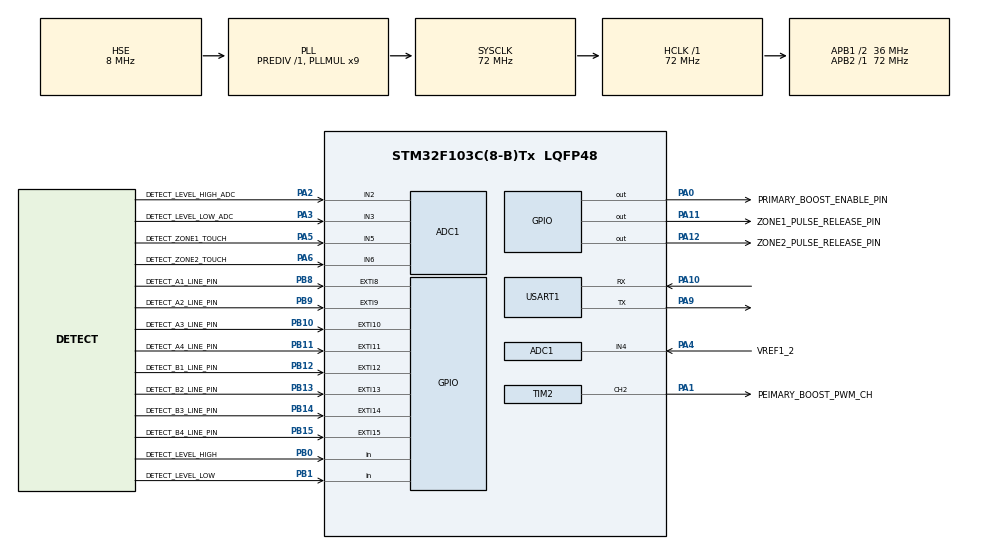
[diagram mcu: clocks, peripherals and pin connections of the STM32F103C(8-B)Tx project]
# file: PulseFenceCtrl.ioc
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ADC1.Channel-0\#ChannelRegularConversion=ADC_CHANNEL_4
ADC1.ContinuousConvMode=DISABLE
ADC1.DataAlign=ADC_DATAALIGN_RIGHT
ADC1.DiscontinuousConvMode=DISABLE
ADC1.EnableAnalogWatchDog=false
ADC1.EnableRegularConversion=ENABLE
ADC1.ExternalTrigConv=ADC_SOFTWARE_START
ADC1.InjNumberOfConversion=0
ADC1.NbrOfConversion=1
ADC1.NbrOfConversionFlag=1
ADC1.Rank-0\#ChannelRegularConversion=1
ADC1.SamplingTime-0\#ChannelRegularConversion=ADC_SAMPLETIME_239CYCLES_5
ADC1.ScanConvMode=ADC_SCAN_DISABLE
ADC1.master=1
Mcu.Family=STM32F1
Mcu.Name=STM32F103C(8-B)Tx
Mcu.Package=LQFP48
NVIC.EXTI15_10_IRQn=true\:2\:0\:true\:true\:true\:1\:true
NVIC.EXTI9_5_IRQn=true\:2\:0\:true\:true\:true\:2\:true
NVIC.PriorityGroup=NVIC_PRIORITYGROUP_4
NVIC.TIM1_UP_IRQn=true\:3\:0\:true\:false\:true\:true
NVIC.USART1_IRQn=true\:2\:0\:true\:false\:true\:true
PA0-WKUP.GPIO_Label=PRIMARY_BOOST_ENABLE_PIN
PA0-WKUP.GPIO_ModeDefaultOutputPP=GPIO_MODE_OUTPUT_PP
PA0-WKUP.Signal=GPIO_Output
PA1.GPIO_Label=PEIMARY_BOOST_PWM_CH
PA1.Signal=S_TIM2_CH2
PA10.Mode=Asynchronous
PA10.Signal=USART1_RX
PA11.GPIO_Label=ZONE1_PULSE_RELEASE_PIN
PA11.GPIO_Speed=GPIO_SPEED_FREQ_HIGH
PA11.PinState=GPIO_PIN_SET
PA11.Signal=GPIO_Output
PA12.GPIO_Label=ZONE2_PULSE_RELEASE_PIN
PA12.GPIO_Speed=GPIO_SPEED_FREQ_HIGH
PA12.PinState=GPIO_PIN_SET
PA12.Signal=GPIO_Output
PA13.Mode=Trace_Asynchronous_SW
PA13.Signal=SYS_JTMS-SWDIO
PA14.Mode=Trace_Asynchronous_SW
PA14.Signal=SYS_JTCK-SWCLK
PA2.GPIO_Label=DETECT_LEVEL_HIGH_ADC
PA2.Signal=ADCx_IN2
PA3.GPIO_Label=DETECT_LEVEL_LOW_ADC
PA3.Signal=ADCx_IN3
PA4.GPIO_Label=VREF1_2
PA4.Signal=ADCx_IN4
PA5.GPIO_Label=DETECT_ZONE1_TOUCH
PA5.Signal=ADCx_IN5
PA6.GPIO_Label=DETECT_ZONE2_TOUCH
PA6.Signal=ADCx_IN6
PA9.Mode=Asynchronous
PA9.Signal=USART1_TX
PB0.GPIO_Label=DETECT_LEVEL_HIGH
PB0.GPIO_PuPd=GPIO_PULLUP
PB0.Signal=GPIO_Input
PB1.GPIO_Label=DETECT_LEVEL_LOW
PB1.GPIO_PuPd=GPIO_PULLUP
PB1.Signal=GPIO_Input
PB10.GPIO_Label=DETECT_A3_LINE_PIN
PB10.GPIO_ModeDefaultEXTI=GPIO_MODE_IT_FALLING
PB10.GPIO_PuPd=GPIO_PULLUP
PB10.Signal=GPXTI10
PB11.GPIO_Label=DETECT_A4_LINE_PIN
PB11.GPIO_ModeDefaultEXTI=GPIO_MODE_IT_FALLING
PB11.GPIO_PuPd=GPIO_PULLUP
PB11.Signal=GPXTI11
PB12.GPIO_Label=DETECT_B1_LINE_PIN
PB12.GPIO_ModeDefaultEXTI=GPIO_MODE_IT_FALLING
PB12.GPIO_PuPd=GPIO_PULLUP
PB12.Signal=GPXTI12
PB13.GPIO_Label=DETECT_B2_LINE_PIN
PB13.GPIO_ModeDefaultEXTI=GPIO_MODE_IT_FALLING
PB13.GPIO_PuPd=GPIO_PULLUP
PB13.Signal=GPXTI13
PB14.GPIO_Label=DETECT_B3_LINE_PIN
PB14.GPIO_ModeDefaultEXTI=GPIO_MODE_IT_FALLING
PB14.GPIO_PuPd=GPIO_PULLUP
PB14.Signal=GPXTI14
PB15.GPIO_Label=DETECT_B4_LINE_PIN
PB15.GPIO_ModeDefaultEXTI=GPIO_MODE_IT_FALLING
PB15.GPIO_PuPd=GPIO_PULLUP
PB15.Signal=GPXTI15
PB3.Mode=Trace_Asynchronous_SW
PB3.Signal=SYS_JTDO-TRACESWO
PB8.GPIO_Label=DETECT_A1_LINE_PIN
PB8.GPIO_ModeDefaultEXTI=GPIO_MODE_IT_FALLING
PB8.GPIO_PuPd=GPIO_PULLUP
PB8.Signal=GPXTI8
PB9.GPIO_Label=DETECT_A2_LINE_PIN
PB9.GPIO_ModeDefaultEXTI=GPIO_MODE_IT_FALLING
PB9.GPIO_PuPd=GPIO_PULLUP
PB9.Signal=GPXTI9
PD0-OSC_IN.Mode=HSE-External-Oscillator
PD0-OSC_IN.Signal=RCC_OSC_IN
PD1-OSC_OUT.Mode=HSE-External-Oscillator
PD1-OSC_OUT.Signal=RCC_OSC_OUT
ProjectManager.HeapSize=0x200
ProjectManager.StackSize=0x400
ProjectManager.TargetToolchain=MDK-ARM V5
RCC.ADCPresc=RCC_ADCPCLK2_DIV6
RCC.AHBFreq_Value=72000000
RCC.APB1CLKDivider=RCC_HCLK_DIV2
RCC.APB1Freq_Value=36000000
RCC.APB1TimFreq_Value=72000000
RCC.APB2Freq_Value=72000000
RCC.APB2TimFreq_Value=72000000
RCC.HCLKFreq_Value=72000000
RCC.PLLMUL=RCC_PLL_MUL9
RCC.PLLSourceVirtual=RCC_PLLSOURCE_HSE
RCC.SYSCLKFreq_VALUE=72000000
RCC.SYSCLKSource=RCC_SYSCLKSOURCE_PLLCLK
RCC.USBFreq_Value=72000000
SH.ADCx_IN2.0=ADC1_IN2,IN2
SH.ADCx_IN3.0=ADC1_IN3,IN3
SH.ADCx_IN4.0=ADC1_IN4,IN4
SH.ADCx_IN5.0=ADC1_IN5,IN5
SH.ADCx_IN6.0=ADC1_IN6,IN6
SH.S_TIM2_CH2.0=TIM2_CH2,PWM Generation2 CH2
TIM1.Period=10000
TIM1.Prescaler=72
TIM2.Channel-PWM\ Generation2\ CH2=TIM_CHANNEL_2
TIM2.OCPolarity_2=TIM_OCPOLARITY_LOW
TIM2.Period=100 - 1
TIM2.Prescaler=72 - 1
TIM2.Pulse-PWM\ Generation2\ CH2=20
USART1.VirtualMode=VM_ASYNC
VP_TIM1_VS_ClockSourceINT.Mode=Internal
board=PulseFenceCtrl

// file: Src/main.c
/**
  ******************************************************************************
  * @file           : main.c
  * @brief          : Main program body
  ******************************************************************************
  ** This notice applies to any and all portions of this file
  * that are not between comment pairs USER CODE BEGIN and
  * USER CODE END. Other portions of this file, whether
  * inserted by the user or by software development tools
  * are owned by their respective copyright owners.
  *
  * COPYRIGHT(c) 2018 STMicroelectronics
  *
  * Redistribution and use in source and binary forms, with or without modification,
  * are permitted provided that the following conditions are met:
  *   1. Redistributions of source code must retain the above copyright notice,
  *      this list of conditions and the following disclaimer.
  *   2. Redistributions in binary form must reproduce the above copyright notice,
  *      this list of conditions and the following disclaimer in the documentation
  *      and/or other materials provided with the distribution.
  *   3. Neither the name of STMicroelectronics nor the names of its contributors
  *      may be used to endorse or promote products derived from this software
  *      without specific prior written permission.
  *
  * THIS SOFTWARE IS PROVIDED BY THE COPYRIGHT HOLDERS AND CONTRIBUTORS "AS IS"
  * AND ANY EXPRESS OR IMPLIED WARRANTIES, INCLUDING, BUT NOT LIMITED TO, THE
  * IMPLIED WARRANTIES OF MERCHANTABILITY AND FITNESS FOR A PARTICULAR PURPOSE ARE
  * DISCLAIMED. IN NO EVENT SHALL THE COPYRIGHT HOLDER OR CONTRIBUTORS BE LIABLE
  * FOR ANY DIRECT, INDIRECT, INCIDENTAL, SPECIAL, EXEMPLARY, OR CONSEQUENTIAL
  * DAMAGES (INCLUDING, BUT NOT LIMITED TO, PROCUREMENT OF SUBSTITUTE GOODS OR
  * SERVICES; LOSS OF USE, DATA, OR PROFITS; OR BUSINESS INTERRUPTION) HOWEVER
  * CAUSED AND ON ANY THEORY OF LIABILITY, WHETHER IN CONTRACT, STRICT LIABILITY,
  * OR TORT (INCLUDING NEGLIGENCE OR OTHERWISE) ARISING IN ANY WAY OUT OF THE USE
  * OF THIS SOFTWARE, EVEN IF ADVISED OF THE POSSIBILITY OF SUCH DAMAGE.
  *
  ******************************************************************************
  */
#include "main.h"
#include "stm32f1xx_hal.h"

/* USER CODE BEGIN Includes */
#include "boost.h"
#include "uart.h"
#include "flash.h"
/* USER CODE END Includes */

ADC_HandleTypeDef hadc1;

TIM_HandleTypeDef htim1;
TIM_HandleTypeDef htim2;

UART_HandleTypeDef huart1;

/* USER CODE BEGIN PV */
/* Private variables ---------------------------------------------------------*/
/* USER CODE END PV */

void SystemClock_Config(void);
static void MX_GPIO_Init(void);
static void MX_USART1_UART_Init(void);
static void MX_TIM2_Init(void);
static void MX_TIM1_Init(void);
static void MX_ADC1_Init(void);
static void MX_NVIC_Init(void);

void HAL_TIM_MspPostInit(TIM_HandleTypeDef *htim);

/* USER CODE BEGIN PFP */
/* Private function prototypes -----------------------------------------------*/

/* USER CODE END PFP */

int main(void)
{

  /* MCU Configuration----------------------------------------------------------*/

  /* Reset of all peripherals, Initializes the Flash interface and the Systick. */
  HAL_Init();

  /* Configure the system clock */
  SystemClock_Config();

  /* Initialize all configured peripherals */
  MX_GPIO_Init();
  MX_USART1_UART_Init();
  MX_TIM2_Init();
  MX_TIM1_Init();
  MX_ADC1_Init();

  /* Initialize interrupts */
  MX_NVIC_Init();
  /* USER CODE BEGIN 2 */
	HAL_Delay(200);
	read_data_from_flash();
	HAL_UART_Receive_IT(&huart1, &uart1_rx_buff, 1);
	HAL_TIM_Base_Start_IT(&htim1);

  /* USER CODE END 2 */

  /* Infinite loop */
  while (1)
  {

  /* USER CODE BEGIN 3 */
		boost_release();		//升压并释放脉冲
		auto_dectect();			//自检
		write_flash_process();
  }
  /* USER CODE END 3 */

}

void SystemClock_Config(void)
{

  RCC_OscInitTypeDef RCC_OscInitStruct;
  RCC_ClkInitTypeDef RCC_ClkInitStruct;
  RCC_PeriphCLKInitTypeDef PeriphClkInit;

    /**Initializes the CPU, AHB and APB busses clocks
    */
  RCC_OscInitStruct.OscillatorType = RCC_OSCILLATORTYPE_HSE;
  RCC_OscInitStruct.HSEState = RCC_HSE_ON;
  RCC_OscInitStruct.HSEPredivValue = RCC_HSE_PREDIV_DIV1;
  RCC_OscInitStruct.HSIState = RCC_HSI_ON;
  RCC_OscInitStruct.PLL.PLLState = RCC_PLL_ON;
  RCC_OscInitStruct.PLL.PLLSource = RCC_PLLSOURCE_HSE;
  RCC_OscInitStruct.PLL.PLLMUL = RCC_PLL_MUL9;
  if (HAL_RCC_OscConfig(&RCC_OscInitStruct) != HAL_OK)
  {
    _Error_Handler(__FILE__, __LINE__);
  }

    /**Initializes the CPU, AHB and APB busses clocks
    */
  RCC_ClkInitStruct.ClockType = RCC_CLOCKTYPE_HCLK|RCC_CLOCKTYPE_SYSCLK
                              |RCC_CLOCKTYPE_PCLK1|RCC_CLOCKTYPE_PCLK2;
  RCC_ClkInitStruct.SYSCLKSource = RCC_SYSCLKSOURCE_PLLCLK;
  RCC_ClkInitStruct.AHBCLKDivider = RCC_SYSCLK_DIV1;
  RCC_ClkInitStruct.APB1CLKDivider = RCC_HCLK_DIV2;
  RCC_ClkInitStruct.APB2CLKDivider = RCC_HCLK_DIV1;

  if (HAL_RCC_ClockConfig(&RCC_ClkInitStruct, FLASH_LATENCY_2) != HAL_OK)
  {
    _Error_Handler(__FILE__, __LINE__);
  }

  PeriphClkInit.PeriphClockSelection = RCC_PERIPHCLK_ADC;
  PeriphClkInit.AdcClockSelection = RCC_ADCPCLK2_DIV6;
  if (HAL_RCCEx_PeriphCLKConfig(&PeriphClkInit) != HAL_OK)
  {
    _Error_Handler(__FILE__, __LINE__);
  }

    /**Configure the Systick interrupt time
    */
  HAL_SYSTICK_Config(HAL_RCC_GetHCLKFreq()/1000);

    /**Configure the Systick
    */
  HAL_SYSTICK_CLKSourceConfig(SYSTICK_CLKSOURCE_HCLK);

  /* SysTick_IRQn interrupt configuration */
  HAL_NVIC_SetPriority(SysTick_IRQn, 0, 0);
}

/**
  * @brief NVIC Configuration.
  * @retval None
  */
static void MX_NVIC_Init(void)
{
  /* EXTI15_10_IRQn interrupt configuration */
  HAL_NVIC_SetPriority(EXTI15_10_IRQn, 2, 0);
  HAL_NVIC_EnableIRQ(EXTI15_10_IRQn);
  /* EXTI9_5_IRQn interrupt configuration */
  HAL_NVIC_SetPriority(EXTI9_5_IRQn, 2, 0);
  HAL_NVIC_EnableIRQ(EXTI9_5_IRQn);
}

/* ADC1 init function */
static void MX_ADC1_Init(void)
{

  ADC_ChannelConfTypeDef sConfig;

    /**Common config
    */
  hadc1.Instance = ADC1;
  hadc1.Init.ScanConvMode = ADC_SCAN_DISABLE;
  hadc1.Init.ContinuousConvMode = DISABLE;
  hadc1.Init.DiscontinuousConvMode = DISABLE;
  hadc1.Init.ExternalTrigConv = ADC_SOFTWARE_START;
  hadc1.Init.DataAlign = ADC_DATAALIGN_RIGHT;
  hadc1.Init.NbrOfConversion = 1;
  if (HAL_ADC_Init(&hadc1) != HAL_OK)
  {
    _Error_Handler(__FILE__, __LINE__);
  }

    /**Configure Regular Channel
    */
  sConfig.Channel = ADC_CHANNEL_4;
  sConfig.Rank = ADC_REGULAR_RANK_1;
  sConfig.SamplingTime = ADC_SAMPLETIME_239CYCLES_5;
  if (HAL_ADC_ConfigChannel(&hadc1, &sConfig) != HAL_OK)
  {
    _Error_Handler(__FILE__, __LINE__);
  }

}

/* TIM1 init function */
static void MX_TIM1_Init(void)
{

  TIM_ClockConfigTypeDef sClockSourceConfig;
  TIM_MasterConfigTypeDef sMasterConfig;

  htim1.Instance = TIM1;
  htim1.Init.Prescaler = 72;
  htim1.Init.CounterMode = TIM_COUNTERMODE_UP;
  htim1.Init.Period = 10000;
  htim1.Init.ClockDivision = TIM_CLOCKDIVISION_DIV1;
  htim1.Init.RepetitionCounter = 0;
  htim1.Init.AutoReloadPreload = TIM_AUTORELOAD_PRELOAD_DISABLE;
  if (HAL_TIM_Base_Init(&htim1) != HAL_OK)
  {
    _Error_Handler(__FILE__, __LINE__);
  }

  sClockSourceConfig.ClockSource = TIM_CLOCKSOURCE_INTERNAL;
  if (HAL_TIM_ConfigClockSource(&htim1, &sClockSourceConfig) != HAL_OK)
  {
    _Error_Handler(__FILE__, __LINE__);
  }

  sMasterConfig.MasterOutputTrigger = TIM_TRGO_RESET;
  sMasterConfig.MasterSlaveMode = TIM_MASTERSLAVEMODE_DISABLE;
  if (HAL_TIMEx_MasterConfigSynchronization(&htim1, &sMasterConfig) != HAL_OK)
  {
    _Error_Handler(__FILE__, __LINE__);
  }

}

/* TIM2 init function */
static void MX_TIM2_Init(void)
{

  TIM_MasterConfigTypeDef sMasterConfig;
  TIM_OC_InitTypeDef sConfigOC;

  htim2.Instance = TIM2;
  htim2.Init.Prescaler = 72 - 1;
  htim2.Init.CounterMode = TIM_COUNTERMODE_UP;
  htim2.Init.Period = 100 - 1;
  htim2.Init.ClockDivision = TIM_CLOCKDIVISION_DIV1;
  htim2.Init.AutoReloadPreload = TIM_AUTORELOAD_PRELOAD_DISABLE;
  if (HAL_TIM_PWM_Init(&htim2) != HAL_OK)
  {
    _Error_Handler(__FILE__, __LINE__);
  }

  sMasterConfig.MasterOutputTrigger = TIM_TRGO_RESET;
  sMasterConfig.MasterSlaveMode = TIM_MASTERSLAVEMODE_DISABLE;
  if (HAL_TIMEx_MasterConfigSynchronization(&htim2, &sMasterConfig) != HAL_OK)
  {
    _Error_Handler(__FILE__, __LINE__);
  }

  sConfigOC.OCMode = TIM_OCMODE_PWM1;
  sConfigOC.Pulse = 20;
  sConfigOC.OCPolarity = TIM_OCPOLARITY_LOW;
  sConfigOC.OCFastMode = TIM_OCFAST_DISABLE;
  if (HAL_TIM_PWM_ConfigChannel(&htim2, &sConfigOC, TIM_CHANNEL_2) != HAL_OK)
  {
    _Error_Handler(__FILE__, __LINE__);
  }

  HAL_TIM_MspPostInit(&htim2);

}

/* USART1 init function */
static void MX_USART1_UART_Init(void)
{

  huart1.Instance = USART1;
  huart1.Init.BaudRate = 115200;
  huart1.Init.WordLength = UART_WORDLENGTH_8B;
  huart1.Init.StopBits = UART_STOPBITS_1;
  huart1.Init.Parity = UART_PARITY_NONE;
  huart1.Init.Mode = UART_MODE_TX_RX;
  huart1.Init.HwFlowCtl = UART_HWCONTROL_NONE;
  huart1.Init.OverSampling = UART_OVERSAMPLING_16;
  if (HAL_UART_Init(&huart1) != HAL_OK)
  {
    _Error_Handler(__FILE__, __LINE__);
  }

}

/** Configure pins as
        * Analog
        * Input
        * Output
        * EVENT_OUT
        * EXTI
*/
static void MX_GPIO_Init(void)
{

  GPIO_InitTypeDef GPIO_InitStruct;

  /* GPIO Ports Clock Enable */
  __HAL_RCC_GPIOD_CLK_ENABLE();
  __HAL_RCC_GPIOA_CLK_ENABLE();
  __HAL_RCC_GPIOB_CLK_ENABLE();

  /*Configure GPIO pin Output Level */
  HAL_GPIO_WritePin(PRIMARY_BOOST_ENABLE_PIN_GPIO_Port, PRIMARY_BOOST_ENABLE_PIN_Pin, GPIO_PIN_RESET);

  /*Configure GPIO pin Output Level */
  HAL_GPIO_WritePin(GPIOA, ZONE1_PULSE_RELEASE_PIN_Pin|ZONE2_PULSE_RELEASE_PIN_Pin, GPIO_PIN_SET);

  /*Configure GPIO pin : PRIMARY_BOOST_ENABLE_PIN_Pin */
  GPIO_InitStruct.Pin = PRIMARY_BOOST_ENABLE_PIN_Pin;
  GPIO_InitStruct.Mode = GPIO_MODE_OUTPUT_PP;
  GPIO_InitStruct.Pull = GPIO_NOPULL;
  GPIO_InitStruct.Speed = GPIO_SPEED_FREQ_LOW;
  HAL_GPIO_Init(PRIMARY_BOOST_ENABLE_PIN_GPIO_Port, &GPIO_InitStruct);

  /*Configure GPIO pins : DETECT_LEVEL_HIGH_Pin DETECT_LEVEL_LOW_Pin */
  GPIO_InitStruct.Pin = DETECT_LEVEL_HIGH_Pin|DETECT_LEVEL_LOW_Pin;
  GPIO_InitStruct.Mode = GPIO_MODE_INPUT;
  GPIO_InitStruct.Pull = GPIO_PULLUP;
  HAL_GPIO_Init(GPIOB, &GPIO_InitStruct);

  /*Configure GPIO pins : DETECT_A3_LINE_PIN_Pin DETECT_A4_LINE_PIN_Pin DETECT_B1_LINE_PIN_Pin DETECT_B2_LINE_PIN_Pin
                           DETECT_B3_LINE_PIN_Pin DETECT_B4_LINE_PIN_Pin DETECT_A1_LINE_PIN_Pin DETECT_A2_LINE_PIN_Pin */
  GPIO_InitStruct.Pin = DETECT_A3_LINE_PIN_Pin|DETECT_A4_LINE_PIN_Pin|DETECT_B1_LINE_PIN_Pin|DETECT_B2_LINE_PIN_Pin
                          |DETECT_B3_LINE_PIN_Pin|DETECT_B4_LINE_PIN_Pin|DETECT_A1_LINE_PIN_Pin|DETECT_A2_LINE_PIN_Pin;
  GPIO_InitStruct.Mode = GPIO_MODE_IT_FALLING;
  GPIO_InitStruct.Pull = GPIO_PULLUP;
  HAL_GPIO_Init(GPIOB, &GPIO_InitStruct);

  /*Configure GPIO pins : ZONE1_PULSE_RELEASE_PIN_Pin ZONE2_PULSE_RELEASE_PIN_Pin */
  GPIO_InitStruct.Pin = ZONE1_PULSE_RELEASE_PIN_Pin|ZONE2_PULSE_RELEASE_PIN_Pin;
  GPIO_InitStruct.Mode = GPIO_MODE_OUTPUT_PP;
  GPIO_InitStruct.Pull = GPIO_NOPULL;
  GPIO_InitStruct.Speed = GPIO_SPEED_FREQ_HIGH;
  HAL_GPIO_Init(GPIOA, &GPIO_InitStruct);

}

/* USER CODE BEGIN 4 */

/**
  * @brief  Period elapsed callback in non blocking mode
  * @param  htim : TIM handle
  * @retval None
  */
void HAL_TIM_PeriodElapsedCallback(TIM_HandleTypeDef *htim)
{
	if(htim->Instance == htim1.Instance)
	{
		if(zone1_arming_sta || zone2_arming_sta)
		{
			if(++boost_delay_cnt >= 150)
			{
				boost_delay_cnt = 0;
				boost_delay_finish_mask = 1;
			}

			if(boost_finish_flag)
			{
				if(++release_pulse_time_cnt >= 2)
				{
					release_pulse_time_cnt = 0;
					release_pulse_finish_mask = 1;
				}
			}
		}
	}
}

void HAL_UART_RxCpltCallback(UART_HandleTypeDef *huart)
{
	static uint8_t uart1_rx_cnt = 0;
	static uint8_t uart1_package_lenth = 0;

  UNUSED(huart);

	if(huart->Instance == huart1.Instance)
	{
		uart1_rx_cnt++;

		if(uart1_rx_cnt == 1)
		{
			if(uart1_rx_buff == 0xA5)
			{
				uart1_rx_data[0] = 0xA5;
			}
			else
			{
				uart1_rx_cnt = 0;
			}
		}
		else if(uart1_rx_cnt == 2)
		{
			if(uart1_rx_buff == 0x5A)
			{
				uart1_rx_data[1] = 0x5A;
			}
			else
			{
				uart1_rx_cnt = 0;
			}
		}
		else if(uart1_rx_cnt == 3)
		{
			uart1_package_lenth = uart1_rx_buff + 5;
			uart1_rx_data[2] = uart1_rx_buff;
		}
		/*后面加上校验位数据判断*/
		else if(uart1_rx_cnt == uart1_package_lenth)
		{
			uart1_rx_data[uart1_rx_cnt - 1] = uart1_rx_buff;
			uart1_rx_cnt = 0;
			uart1_deal(uart1_rx_data);
		}
		else if(uart1_rx_cnt > 50)
		{
			uart1_rx_cnt = 0;
		}
		else
		{
			uart1_rx_data[uart1_rx_cnt - 1] = uart1_rx_buff;
		}
	}
}

/**
  * @brief  EXTI line detection callbacks.
  * @param  GPIO_Pin: Specifies the pins connected EXTI line
  * @retval None
  */
void HAL_GPIO_EXTI_Callback(uint16_t GPIO_Pin)
{
  /* Prevent unused argument(s) compilation warning */
  UNUSED(GPIO_Pin);
  /* NOTE: This function Should not be modified, when the callback is needed,
           the HAL_GPIO_EXTI_Callback could be implemented in the user file
   */
	switch(GPIO_Pin)
	{
		case DETECT_A1_LINE_PIN_Pin: broken_short_a1_line_cnt++;  break;
		case DETECT_A2_LINE_PIN_Pin: broken_short_a2_line_cnt++;  break;
		case DETECT_A3_LINE_PIN_Pin: broken_short_a3_line_cnt++;  break;
		case DETECT_A4_LINE_PIN_Pin: broken_short_a4_line_cnt++;  break;
		case DETECT_B1_LINE_PIN_Pin: broken_short_b1_line_cnt++;  break;
		case DETECT_B2_LINE_PIN_Pin: broken_short_b2_line_cnt++;  break;
		case DETECT_B3_LINE_PIN_Pin: broken_short_b3_line_cnt++;  break;
		case DETECT_B4_LINE_PIN_Pin: broken_short_b4_line_cnt++;  break;

		default: break;
	}
}

/* USER CODE END 4 */

void _Error_Handler(char *file, int line)
{
  while(1)
  {
  }
}

/************************ (C) COPYRIGHT STMicroelectronics *****END OF FILE****/
